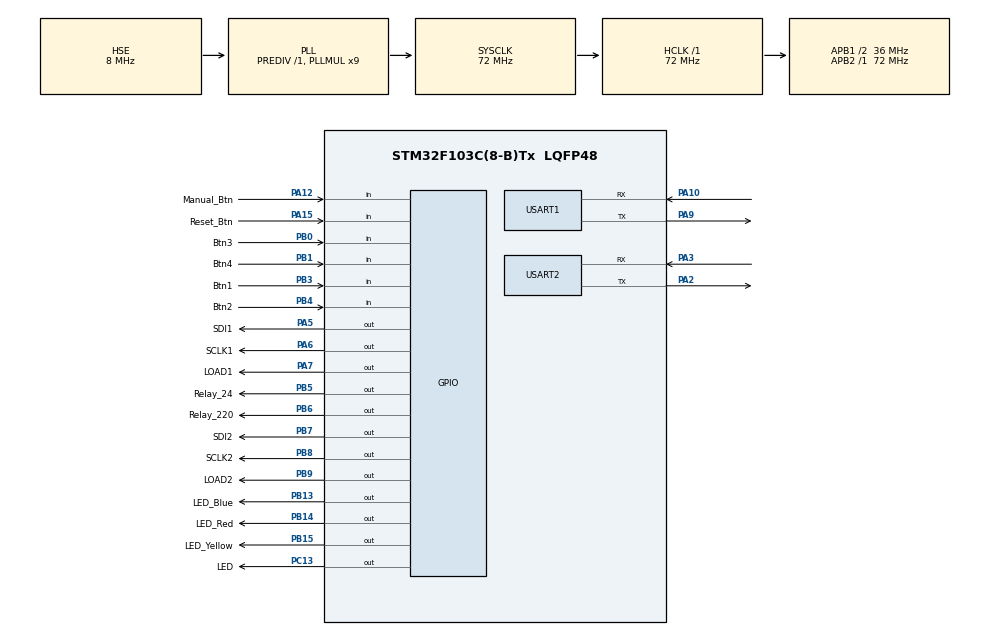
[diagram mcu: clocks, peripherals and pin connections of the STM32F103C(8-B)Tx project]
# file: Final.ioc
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Dma.Request0=USART2_RX
Dma.USART2_RX.0.Direction=DMA_PERIPH_TO_MEMORY
Dma.USART2_RX.0.Instance=DMA1_Channel6
Dma.USART2_RX.0.MemDataAlignment=DMA_MDATAALIGN_BYTE
Dma.USART2_RX.0.MemInc=DMA_MINC_ENABLE
Dma.USART2_RX.0.Mode=DMA_NORMAL
Dma.USART2_RX.0.PeriphDataAlignment=DMA_PDATAALIGN_BYTE
Dma.USART2_RX.0.PeriphInc=DMA_PINC_DISABLE
Dma.USART2_RX.0.Priority=DMA_PRIORITY_LOW
IWDG.Prescaler=IWDG_PRESCALER_256
IWDG.Reload=250
Mcu.Family=STM32F1
Mcu.Name=STM32F103C(8-B)Tx
Mcu.Package=LQFP48
NVIC.DMA1_Channel6_IRQn=true\:0\:0\:false\:false\:true\:false\:true\:true
NVIC.PriorityGroup=NVIC_PRIORITYGROUP_4
NVIC.USART2_IRQn=true\:0\:0\:false\:false\:true\:true\:true\:true
PA10.Mode=Asynchronous
PA10.Signal=USART1_RX
PA12.GPIO_Label=Manual_Btn
PA12.Signal=GPIO_Input
PA13.Mode=Serial_Wire
PA13.Signal=SYS_JTMS-SWDIO
PA14.Mode=Serial_Wire
PA14.Signal=SYS_JTCK-SWCLK
PA15.GPIO_Label=Reset_Btn
PA15.GPIO_PuPd=GPIO_PULLDOWN
PA15.Signal=GPIO_Input
PA2.Mode=Asynchronous
PA2.Signal=USART2_TX
PA3.Mode=Asynchronous
PA3.Signal=USART2_RX
PA5.GPIO_Label=SDI1
PA5.Signal=GPIO_Output
PA6.GPIO_Label=SCLK1
PA6.Signal=GPIO_Output
PA7.GPIO_Label=LOAD1
PA7.Signal=GPIO_Output
PA9.Mode=Asynchronous
PA9.Signal=USART1_TX
PB0.GPIO_Label=Btn3
PB0.Signal=GPIO_Input
PB1.GPIO_Label=Btn4
PB1.Signal=GPIO_Input
PB13.GPIO_Label=LED_Blue
PB13.Signal=GPIO_Output
PB14.GPIO_Label=LED_Red
PB14.Signal=GPIO_Output
PB15.GPIO_Label=LED_Yellow
PB15.Signal=GPIO_Output
PB3.GPIO_Label=Btn1
PB3.Signal=GPIO_Input
PB4.GPIO_Label=Btn2
PB4.Signal=GPIO_Input
PB5.GPIO_Label=Relay_24
PB5.Signal=GPIO_Output
PB6.GPIO_Label=Relay_220
PB6.Signal=GPIO_Output
PB7.GPIO_Label=SDI2
PB7.Signal=GPIO_Output
PB8.GPIO_Label=SCLK2
PB8.Signal=GPIO_Output
PB9.GPIO_Label=LOAD2
PB9.Signal=GPIO_Output
PC13-TAMPER-RTC.GPIO_Label=LED
PC13-TAMPER-RTC.Signal=GPIO_Output
PC14-OSC32_IN.Mode=LSE-External-Oscillator
PC14-OSC32_IN.Signal=RCC_OSC32_IN
PC15-OSC32_OUT.Mode=LSE-External-Oscillator
PC15-OSC32_OUT.Signal=RCC_OSC32_OUT
PD0-OSC_IN.Mode=HSE-External-Oscillator
PD0-OSC_IN.Signal=RCC_OSC_IN
PD1-OSC_OUT.Mode=HSE-External-Oscillator
PD1-OSC_OUT.Signal=RCC_OSC_OUT
ProjectManager.HeapSize=0x200
ProjectManager.StackSize=0x400
ProjectManager.TargetToolchain=CMake
RCC.AHBFreq_Value=72000000
RCC.APB1CLKDivider=RCC_HCLK_DIV2
RCC.APB1Freq_Value=36000000
RCC.APB1TimFreq_Value=72000000
RCC.APB2Freq_Value=72000000
RCC.APB2TimFreq_Value=72000000
RCC.HCLKFreq_Value=72000000
RCC.PLLMUL=RCC_PLL_MUL9
RCC.PLLSourceVirtual=RCC_PLLSOURCE_HSE
RCC.SYSCLKFreq_VALUE=72000000
RCC.SYSCLKSource=RCC_SYSCLKSOURCE_PLLCLK
RCC.USBFreq_Value=72000000
USART1.VirtualMode=VM_ASYNC
USART2.VirtualMode=VM_ASYNC
VP_IWDG_VS_IWDG.Mode=IWDG_Activate
board=custom

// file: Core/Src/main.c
/* USER CODE BEGIN Header */
/**
 ******************************************************************************
 * @file           : main.c
 * @brief          : Main program body
 ******************************************************************************
 * @attention
 *
 * Copyright (c) 2026 STMicroelectronics.
 * All rights reserved.
 *
 * This software is licensed under terms that can be found in the LICENSE file
 * in the root directory of this software component.
 * If no LICENSE file comes with this software, it is provided AS-IS.
 *
 ******************************************************************************
 */
/* USER CODE END Header */
#include "main.h"
#include "dma.h"
#include "iwdg.h"
#include "usart.h"
#include "gpio.h"

/* USER CODE BEGIN Includes */
#include "board_config.h"
#include "hc595.h"
#include "key.h"
#include "display.h"
#include "temp_setting.h"
#include "temperature.h"
#include "report.h"

/* USER CODE END Includes */

/* USER CODE BEGIN PV */
/* UART2 DMA 接收缓冲区 */
#define UART2_BUF_SIZE 64
uint8_t uart2_dma_buf[UART2_BUF_SIZE];  /* DMA 接收缓冲区 */
uint8_t uart2_rx_buf[UART2_BUF_SIZE];   /* 应用接收缓冲区 */
volatile uint16_t uart2_rx_len = 0;     /* 接收到的数据长度 */
volatile uint8_t uart2_frame_ready = 0; /* 帧接收完成标志 */
/* USER CODE END PV */

void SystemClock_Config(void);

/* USER CODE BEGIN 0 */

/* UART2 收帧缓冲 uart2_* 定义在上方 PV 段;
 * DMA 句柄定义在 dma.c (dma.h 未导出, 故此处 extern)。 */
extern DMA_HandleTypeDef hdma_usart2_rx;

/* 温度/报警/阈值/串口输出均由各模块提供, 不再在本文件重复 extern 或定义:
 *   temperature[] / temp_valid[] / manual_alarm / temp_alarm_latched -> temperature.h
 *   阈值 -> temp_setting.h 的 TEMP_SETTING_GetValue1/2()
 *   串口 -> report.h 的 Report_Banner() / Report_Temperature() */

/* USER CODE END 0 */

int main(void)
{

  /* USER CODE BEGIN 1 */
  uint32_t lastPrintTick = 0;   /* 上次串口日志打印时刻, 用于 1s 定时打印 */
  /* USER CODE END 1 */

  /* MCU Configuration--------------------------------------------------------*/

  /* Reset of all peripherals, Initializes the Flash interface and the Systick. */
  HAL_Init();

  /* USER CODE BEGIN Init */
  /* 检查复位原因 - 看门狗复位标志 */
  if (__HAL_RCC_GET_FLAG(RCC_FLAG_IWDGRST)) {
    /* 是看门狗复位，可以点亮 LED 或发送日志指示 */
    HAL_GPIO_WritePin(LED_Red_GPIO_Port, LED_Red_Pin, GPIO_PIN_SET);
    HAL_Delay(200);
    HAL_GPIO_WritePin(LED_Red_GPIO_Port, LED_Red_Pin, GPIO_PIN_RESET);

    /* 清除复位标志 */
    __HAL_RCC_CLEAR_RESET_FLAGS();
  }
  /* USER CODE END Init */

  /* Configure the system clock */
  SystemClock_Config();

  /* Initialize all configured peripherals */
  MX_GPIO_Init();
  MX_DMA_Init();
  MX_USART1_UART_Init();
  MX_USART2_UART_Init();
  MX_IWDG_Init();
  /* USER CODE BEGIN 2 */

  /* 初始化按键和数码管 */
  KEY_Init();
  HC595_1_Init(); /* 初始化第一组数码管 */
  HC595_2_Init(); /* 初始化第二组数码管 */
  TEMP_SETTING_Init();  /* 从 Flash 加载阈值 */
  Display_Init();       /* 上电自检 */

  /* 上电初始化继电器状态：正常态 = 全部继电器释放
   * (K1~K3 断开; K4 防火阀释放 = 走开阀线, 阀保持开) */
  HAL_GPIO_WritePin(K1_ALARM_Port, K1_ALARM_Pin, GPIO_PIN_RESET);
  HAL_GPIO_WritePin(K2_FAN_Port, K2_FAN_Pin, GPIO_PIN_RESET);
  HAL_GPIO_WritePin(K3_GAS_Port, K3_GAS_Pin, GPIO_PIN_RESET);
  HAL_GPIO_WritePin(K4_DAMPER_Port, K4_DAMPER_Pin, GPIO_PIN_RESET);
#if (DAMPER_HAS_LIMIT_SWITCH == 0)
  HAL_GPIO_WritePin(K5_DAMPER2_Port, K5_DAMPER2_Pin, GPIO_PIN_RESET);
#endif

  /* 打印开机 banner (UART1 已初始化, 现场插串口即可确认程序在跑) */
  Report_Banner();

  /* 启动 UART2 DMA 空闲中断接收 */
  huart2.Instance->CR1 |= USART_CR1_IDLEIE; /* 使能 IDLE 中断 */

  /* 启动 DMA 接收 */
  hdma_usart2_rx.Instance->CNDTR = UART2_BUF_SIZE;
  __HAL_DMA_ENABLE(&hdma_usart2_rx);
  HAL_UART_Receive_DMA(&huart2, uart2_dma_buf, UART2_BUF_SIZE);

  /* 启动看门狗 */
  __HAL_IWDG_START(&hiwdg);

  /* USER CODE END 2 */

  /* Infinite loop */
  while (1) {

    /* USER CODE BEGIN 3 */
    /* 显示管理: 根据设置模式分流 */
    if (TEMP_SETTING_GetMode() == SET_MODE_EDIT) {
        Display_SetMode(DISP_MODE_SETTING);
        TEMP_SETTING_Handler();
        TEMP_SETTING_Display();
    } else {
        /* 仅在刚从设置模式退出时切回轮询; 轮询↔报警由 Display_CheckAlarm 管理,
         * 不要每轮强制 ROTATION, 否则会反复清零计时器把画面冻结在 CH1/CH8。 */
        if (Display_GetMode() == DISP_MODE_SETTING) {
            Display_SetMode(DISP_MODE_ROTATION);
        }
        TEMP_SETTING_Handler();   /* 仍检测 SET 键进入设置模式 */
        Display_CheckAlarm();     /* 检查 + 可能的模式切换为报警 */
        Display_Handler();        /* 执行 M0/M1 显示 */
    }

    /* 处理警报逻辑 (手动按钮/复位/LED) */
    TEMP_Alarm_Handler();

    /* 处理 UART2 接收到的数据: 只解析更新温度, 打印与收帧解耦 */
    if (uart2_frame_ready) {
      uart2_frame_ready = 0; /* 清除标志 */

      if (uart2_rx_len >= 21) {
        Parse_Temperature_Data(uart2_rx_buf, uart2_rx_len);
      }
    }

    /* 每 1s 定时打印一次调试日志到 UART1
     * (不依赖温度帧: 没接温度模块也照打, 无效通道显示 ERR,
     *  现场插上串口即可确认 MCU 在跑) */
    if (HAL_GetTick() - lastPrintTick >= 1000) {
      lastPrintTick = HAL_GetTick();
      Report_Temperature();
    }

    /* 喂狗 */
    __HAL_IWDG_RELOAD_COUNTER(&hiwdg);

    /* 短暂延时 */
    HAL_Delay(10);
  }
  /* USER CODE END 3 */
}

void SystemClock_Config(void)
{
  RCC_OscInitTypeDef RCC_OscInitStruct = {0};
  RCC_ClkInitTypeDef RCC_ClkInitStruct = {0};

  /** Initializes the RCC Oscillators according to the specified parameters
  * in the RCC_OscInitTypeDef structure.
  */
  RCC_OscInitStruct.OscillatorType = RCC_OSCILLATORTYPE_LSI|RCC_OSCILLATORTYPE_HSE;
  RCC_OscInitStruct.HSEState = RCC_HSE_ON;
  RCC_OscInitStruct.HSEPredivValue = RCC_HSE_PREDIV_DIV1;
  RCC_OscInitStruct.HSIState = RCC_HSI_ON;
  RCC_OscInitStruct.LSIState = RCC_LSI_ON;
  RCC_OscInitStruct.PLL.PLLState = RCC_PLL_ON;
  RCC_OscInitStruct.PLL.PLLSource = RCC_PLLSOURCE_HSE;
  RCC_OscInitStruct.PLL.PLLMUL = RCC_PLL_MUL9;
  if (HAL_RCC_OscConfig(&RCC_OscInitStruct) != HAL_OK)
  {
    Error_Handler();
  }

  /** Initializes the CPU, AHB and APB buses clocks
  */
  RCC_ClkInitStruct.ClockType = RCC_CLOCKTYPE_HCLK|RCC_CLOCKTYPE_SYSCLK
                              |RCC_CLOCKTYPE_PCLK1|RCC_CLOCKTYPE_PCLK2;
  RCC_ClkInitStruct.SYSCLKSource = RCC_SYSCLKSOURCE_PLLCLK;
  RCC_ClkInitStruct.AHBCLKDivider = RCC_SYSCLK_DIV1;
  RCC_ClkInitStruct.APB1CLKDivider = RCC_HCLK_DIV2;
  RCC_ClkInitStruct.APB2CLKDivider = RCC_HCLK_DIV1;

  if (HAL_RCC_ClockConfig(&RCC_ClkInitStruct, FLASH_LATENCY_2) != HAL_OK)
  {
    Error_Handler();
  }
}

void Error_Handler(void)
{
  __disable_irq();
  while (1) {
  }
}
#ifdef USE_FULL_ASSERT
/**
  * @brief  Reports the name of the source file and the source line number
  *         where the assert_param error has occurred.
  * @param  file: pointer to the source file name
  * @param  line: assert_param error line source number
  * @retval None
  */
void assert_failed(uint8_t *file, uint32_t line)
{
  /* USER CODE BEGIN 6 */
  /* User can add his own implementation to report the file name and line
     number, ex: printf("Wrong parameters value: file %s on line %d\r\n", file,
     line) */
  /* USER CODE END 6 */
}
#endif /* USE_FULL_ASSERT */
